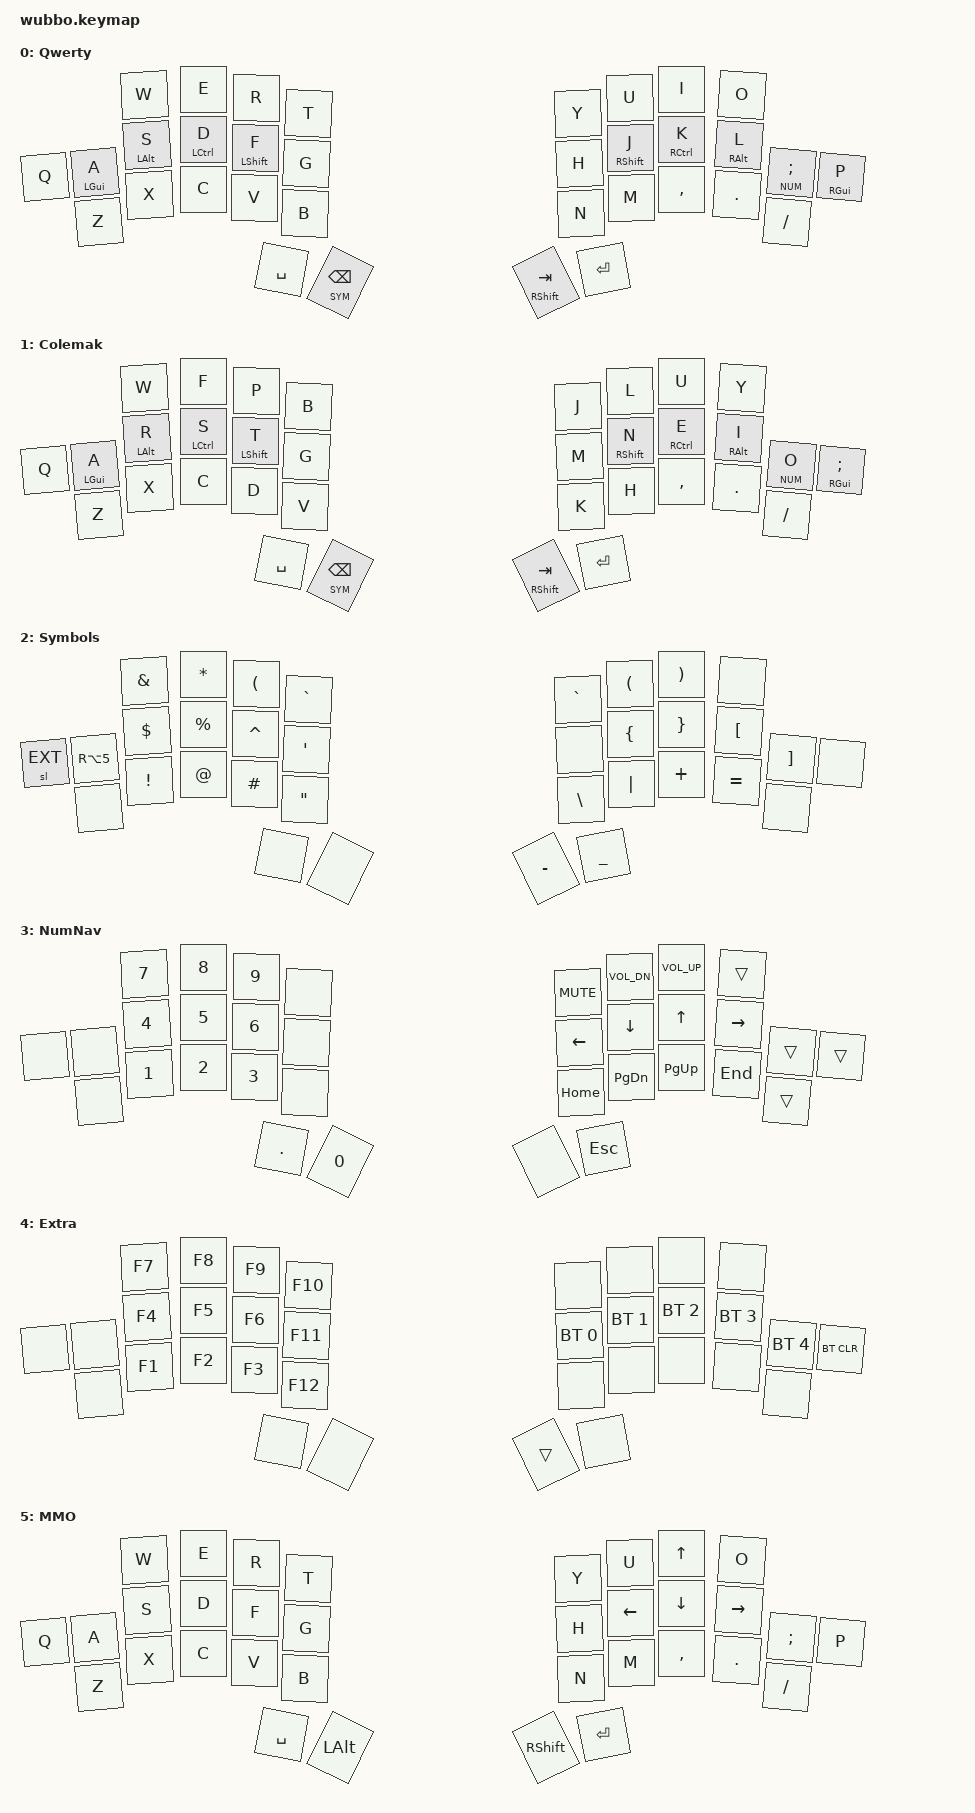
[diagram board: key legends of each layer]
/*
 * Copyright (c) 2022 The ZMK Contributors
 *
 * SPDX-License-Identifier: MIT
 */

#include <behaviors.dtsi>
#include <dt-bindings/zmk/keys.h>
#include <dt-bindings/zmk/bt.h>

#define BT0 &bt BT_SEL 0
#define BT1 &bt BT_SEL 1
#define BT2 &bt BT_SEL 2
#define BT3 &bt BT_SEL 3
#define BT4 &bt BT_SEL 4

#define BASE 0
#define COLE 1
#define SYM 2
#define NUM 3
#define EXT 4
#define MMO 5

#define EUR RA(N5)

#define COMBO(NAME, BINDINGS, KEYPOS) \
  combo_##NAME { \
	bindings = <BINDINGS>; \
	key-positions = <KEYPOS>; \
  };


&sl {
	release-after-ms = <60000>;
};

/ {
	behaviors {
        sp: space_modtap {
            compatible = "zmk,behavior-hold-tap";
            label = "SPACE_MODTAP";
            #binding-cells = <2>;
            tapping-term-ms = <400>;
            quick_tap_ms = <0>;
            flavor = "tap-preferred";
            bindings = <&kp>, <&kp>;
        };

        hm: homerow_mods {
            compatible = "zmk,behavior-hold-tap";
            label = "HOMEROW_MODS";
            #binding-cells = <2>;
            tapping_term_ms = <200>;
            flavor = "tap-preferred";
            bindings = <&kp>, <&kp>;
        };
    };

    combos {
        compatible = "zmk,combos";

        /* 
          ╭───────────────────────╮          ╭───────────────────────╮
          │          0   1   2  3 │          │  4   5   6   7        │
          │  8   9  10  11  12 13 │          │ 14  15  16  17  18  19│
          │     20  21  22  23 24  ───╮ ╭────  25  26  27  28  29    │
          ╰─────────────────╮  30  31 │ │ 32  33 ╭───────────────────╯
                            ╰─────────╯ ╰────────╯           
        */

		// Keys
	    COMBO(left_esc, &kp ESC, 1 2)
		COMBO(dmenu, &kp LG(D), 31 32)
		COMBO(ptt, &kp F24, 12 31)
		COMBO(quit, &kp LG(LS(Q)), 0 31)
	
		// Layers
	    COMBO(extra_layer, &mo EXT, 30 31)
	    COMBO(qwerty_layer, &to BASE, 0 1 2)
	    COMBO(colemak_layer, &to COLE, 4 5 6)
		COMBO(mmo_layer, &to MMO, 26 27 28 29)
	
		// Etc
		COMBO(studio_unlock, &studio_unlock, 3 31)
    };

    keymap {
        compatible = "zmk,keymap";

	    base_layer {
            display-name = "Qwerty";
		    bindings = <
                       &kp W      &kp E       &kp R        &kp T                                  &kp Y         &kp U        &kp I        &kp O       
&kp Q      &hm LGUI A  &hm LALT S &hm LCTRL D &hm LSHFT F  &kp G                                  &kp H         &hm RSHFT J  &hm RCTRL K  &hm RALT L  &lt NUM SEMI &hm RGUI P
           &kp Z       &kp X      &kp C       &kp V        &kp B                                  &kp N         &kp M        &kp COMMA    &kp DOT     &kp FSLH
                                              &kp SPACE    &lt SYM BSPC                           &mt RSHFT TAB &kp RET
		    >;
       	};


	    cole_layer {
		    display-name = "Colemak";
		    bindings = <
                      &kp W      &kp F       &kp P        &kp B                               &kp J         &kp L        &kp U        &kp Y       
&kp Q     &hm LGUI A  &hm LALT R &hm LCTRL S &hm LSHFT T  &kp G                               &kp M         &hm RSHFT N  &hm RCTRL E  &hm RALT I  &lt NUM O     &hm RGUI SEMI
          &kp Z       &kp X      &kp C       &kp D        &kp V                               &kp K         &kp H        &kp COMMA    &kp DOT     &kp FSLH
                                             &kp SPACE    &lt SYM BSPC                        &mt RSHFT TAB &kp RET
		    >;
       	};

    

	    symbol_layer {
		    display-name = "Symbols";
		    bindings = <
                      &kp AMPS   &kp ASTRK   &kp LPAR    &kp GRAVE                            &kp GRAVE   &kp LPAR     &kp RPAR     &none        
&sl EXT     &kp EUR   &kp DLLR   &kp PRCNT   &kp CARET   &kp SQT                              &none       &kp LBRC     &kp RBRC     &kp LBKT    &kp RBKT    &none 
            &none     &kp EXCL   &kp AT      &kp HASH    &kp DQT                              &kp BSLH    &kp PIPE     &kp PLUS     &kp EQUAL   &none
                                             &none       &none                                &kp MINUS   &kp UNDER
		    >;
       	};

        numnav_layer {
		    display-name = "NumNav";
		    bindings = <
                      &kp N7     &kp N8      &kp N9      &none                                &kp C_MUTE   &kp C_VOL_DN &kp C_VOL_UP &trans       
&none        &none    &kp N4     &kp N5      &kp N6      &none                                &kp LEFT     &kp DOWN     &kp UP       &kp RIGHT   &trans      &trans
             &none    &kp N1     &kp N2      &kp N3      &none                                &kp HOME     &kp PG_DN    &kp PG_UP    &kp END     &trans
				             &kp DOT     &kp N0                               &none        &kp ESC
		    >;
        };

	    extra_layer {
		    display-name = "Extra";
		    bindings = <
                      &kp F7     &kp F8      &kp F9      &kp F10                               &none        &none        &none        &none        
&none        &none    &kp F4     &kp F5      &kp F6      &kp F11                               BT0          BT1          BT2          BT3         BT4         &bt BT_CLR
             &none    &kp F1     &kp F2      &kp F3      &kp F12                               &none        &none        &none        &none       &none 
				             &none       &none                                 &trans       &none
		    >;
        };

        mmo_layer {
		    display-name = "MMO";
		    bindings = <
                       &kp W      &kp E       &kp R        &kp T                                &kp Y         &kp U        &kp UP       &kp O       
&kp Q      &kp A       &kp S      &kp D       &kp F        &kp G                                &kp H         &kp LEFT     &kp DOWN     &kp RIGHT &kp SEMI &kp P
           &kp Z       &kp X      &kp C       &kp V        &kp B                                &kp N         &kp M        &kp COMMA    &kp DOT   &kp FSLH
				              &kp SPACE    &kp LALT                             &kp RSHFT     &kp RET
		    >;
        };

	    extra3 {
		    status = "reserved";
	    };

        extra4 {
		    status = "reserved";
	    };
    };
};
